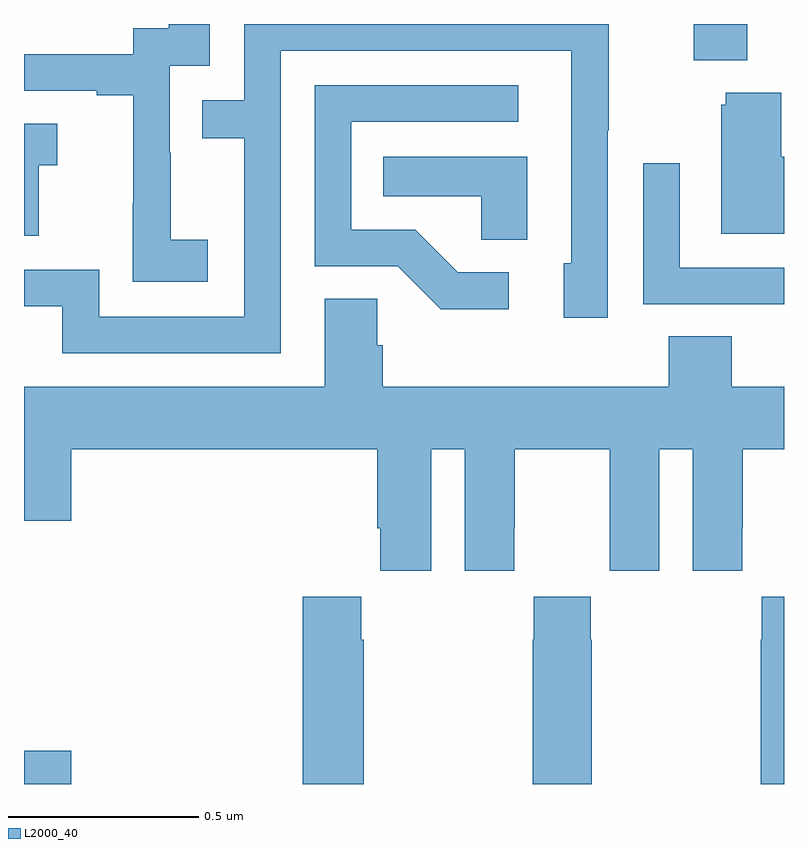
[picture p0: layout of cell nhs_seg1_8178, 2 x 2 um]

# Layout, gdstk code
import gdstk
lib = gdstk.Library(unit=1e-6, precision=1e-09)
def R(c, l, rs):  # rectangles x0, y0, x1, y1
    for r in rs: c.add(gdstk.rectangle(r[:2], r[2:], *l))
def P(c, l, *ps):  # polygons
    for p in ps: c.add(gdstk.Polygon(p, *l))
L2000_40 = (2000, 40)

nhs_seg1_8178 = lib.new_cell('nhs_seg1_8178')
R(nhs_seg1_8178, L2000_40, [(213,536.199,213.124,536.287), (214.763,538.103,214.903,538.199)])
P(nhs_seg1_8178, L2000_40, [(213.484,537.631),(213.386,537.631),(213.386,537.86),(213.384,537.86),(213.384,538.089),(213.489,538.089),(213.489,538.199),(213.381,538.199),(213.381,538.188),(213.288,538.188),(213.288,538.119),(213,538.119),(213,538.023),(213.191,538.023),(213.191,538.011),(213.287,538.011),(213.287,537.727),(213.286,537.727),(213.286,537.521),(213.484,537.521)],
  [(213.675,538.128),(214.44,538.128),(214.44,537.57),(214.421,537.57),(214.421,537.426),(214.536,537.426),(214.536,537.919),(214.539,537.919),(214.539,538.199),(213.579,538.199),(213.579,537.999),(213.469,537.999),(213.469,537.898),(213.579,537.898),(213.579,537.429),(213.198,537.429),(213.198,537.552),(213,537.552),(213,537.456),(213.101,537.456),(213.101,537.333),(213.675,537.333)],
  [(214.276,537.546),(214.141,537.546),(214.03,537.657),(213.861,537.657),(213.861,537.942),(214.3,537.942),(214.3,538.038),(213.765,538.038),(213.765,537.561),(213.984,537.561),(214.097,537.449),(214.276,537.449)],
  [(215,537.85),(214.993,537.85),(214.993,538.018),(214.847,538.018),(214.847,537.987),(214.835,537.987),(214.835,537.647),(215,537.647)],
  [(213.039,537.827),(213.088,537.827),(213.088,537.937),(213,537.937),(213,537.642),(213.039,537.642)],
  [(214.324,537.85),(213.946,537.85),(213.946,537.746),(214.203,537.746),(214.203,537.631),(214.324,537.631)],
  [(215,537.558),(214.725,537.558),(214.725,537.832),(214.629,537.832),(214.629,537.462),(214.945,537.462),(214.945,537.461),(215,537.461)],
  [(214.072,537.08),(214.16,537.08),(214.16,536.76),(214.29,536.76),(214.29,536.872),(214.291,536.872),(214.291,537.08),(214.541,537.08),(214.541,536.872),(214.542,536.872),(214.542,536.76),(214.672,536.76),(214.672,537.08),(214.76,537.08),(214.76,536.76),(214.89,536.76),(214.89,536.872),(214.891,536.872),(214.891,537.08),(215,537.08),(215,537.244),(214.862,537.244),(214.862,537.377),(214.697,537.377),(214.697,537.244),(213.944,537.244),(213.944,537.353),(213.93,537.353),(213.93,537.476),(213.791,537.476),(213.791,537.244),(213,537.244),(213,536.892),(213.124,536.892),(213.124,537.08),(213.929,537.08),(213.929,536.872),(213.938,536.872),(213.938,536.76),(214.072,536.76)],
  [(213.894,536.579),(213.887,536.579),(213.887,536.692),(213.734,536.692),(213.734,536.199),(213.894,536.199)],
  [(214.494,536.579),(214.491,536.579),(214.491,536.692),(214.341,536.692),(214.341,536.579),(214.339,536.579),(214.339,536.199),(214.494,536.199)],
  [(215,536.692),(214.941,536.692),(214.941,536.579),(214.939,536.579),(214.939,536.199),(215,536.199)])

lib.write_gds('nhs_seg1_8178.gds')
